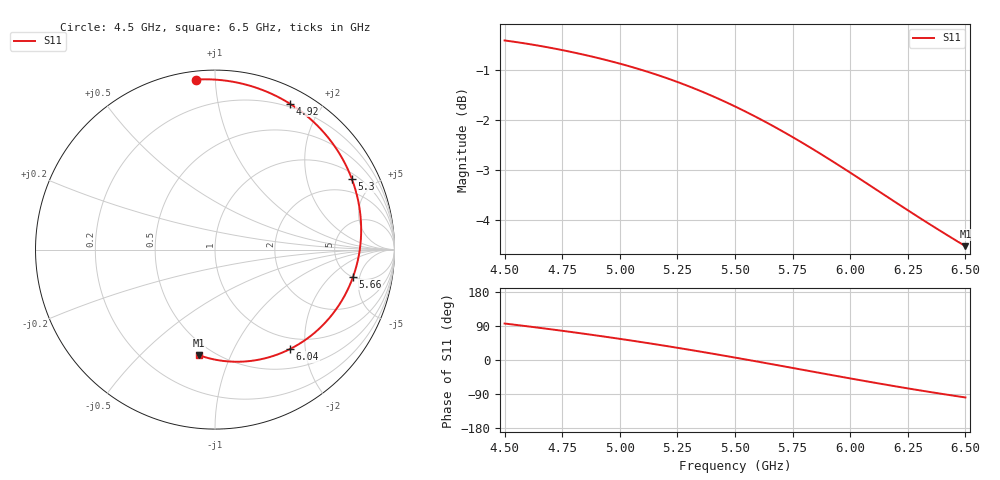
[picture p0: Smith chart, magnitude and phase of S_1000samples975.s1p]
! TOUCHSTONE file generated by CST MICROWAVE STUDIO
! Date and time: Sat Oct 29 23:30:05 2022
! Project name: L.cst
! Parameters = {Di=1.27; Epsilon_r=1.56; InnerDiameter=1.27; Length=2; Lf=10; Lg=60; OuterConductorThickness=0.2921; OuterDiameter=3.6; Wf=3; Wp=41.2; de=1.5; df=6.8; g=0.8; gx=4.13711; gy=4.62543; h=2.34; hf=1.524; px=13.0457; py=11.9313; w=9.7; wx=8.90862; wy=7.30592}
! Header version: 2018
! Port assignment regex: !\s*Touchstone port\s*([0-9]+)\s*=\s*(CST MWS port|CST DS port)\s*([0-9]+|Zmin|Zmax)\s*\(\"(.*)\"\)(\s*mode\s*([0-9]+))?.*
! Touchstone port assignment:
! Touchstone port 1 = CST MWS port 1 ("")
# GHz S DB R 50
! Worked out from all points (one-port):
!   101 points, 4.5 GHz to 6.5 GHz, reference 50 ohm
!   lowest |S11| = -4.5 dB at 6.5 GHz (marker M1), VSWR 3.93, Z = 21 - j38.2 ohm
!   |S11| at or under -10 dB: nowhere
!   S11 on the Smith chart (normalised r, x): 4.5 GHz: 0.04, +0.90; 4.92 GHz: 0.16, +1.62; 5.3 GHz: 1.26, +3.74; 5.66 GHz: 5.10, -3.98; 6.04 GHz: 0.80, -1.72; 6.5 GHz: 0.42, -0.76
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4.5  -0.42 96.3
4.58  -0.47 90.3
4.64  -0.51 85.8
4.76  -0.62 76.3
4.84  -0.70 69.7
4.92  -0.78 62.9
5  -0.88 55.8
5.06  -0.96 50.4
5.12  -1.04 44.8
5.2  -1.16 37.1
5.26  -1.26 31.2
5.3  -1.33 27.2
5.4  -1.52 16.9
5.46  -1.64 10.6
5.5  -1.73 6.4
5.58  -1.91 -2.3
5.66  -2.11 -11.0
5.76  -2.37 -22.1
5.82  -2.53 -28.7
5.88  -2.70 -35.4
5.94  -2.87 -42.0
6  -3.05 -48.6
6.04  -3.17 -52.9
6.14  -3.47 -63.6
6.2  -3.65 -69.8
6.26  -3.83 -75.9
6.38  -4.18 -87.7
6.5  -4.52 -98.8
